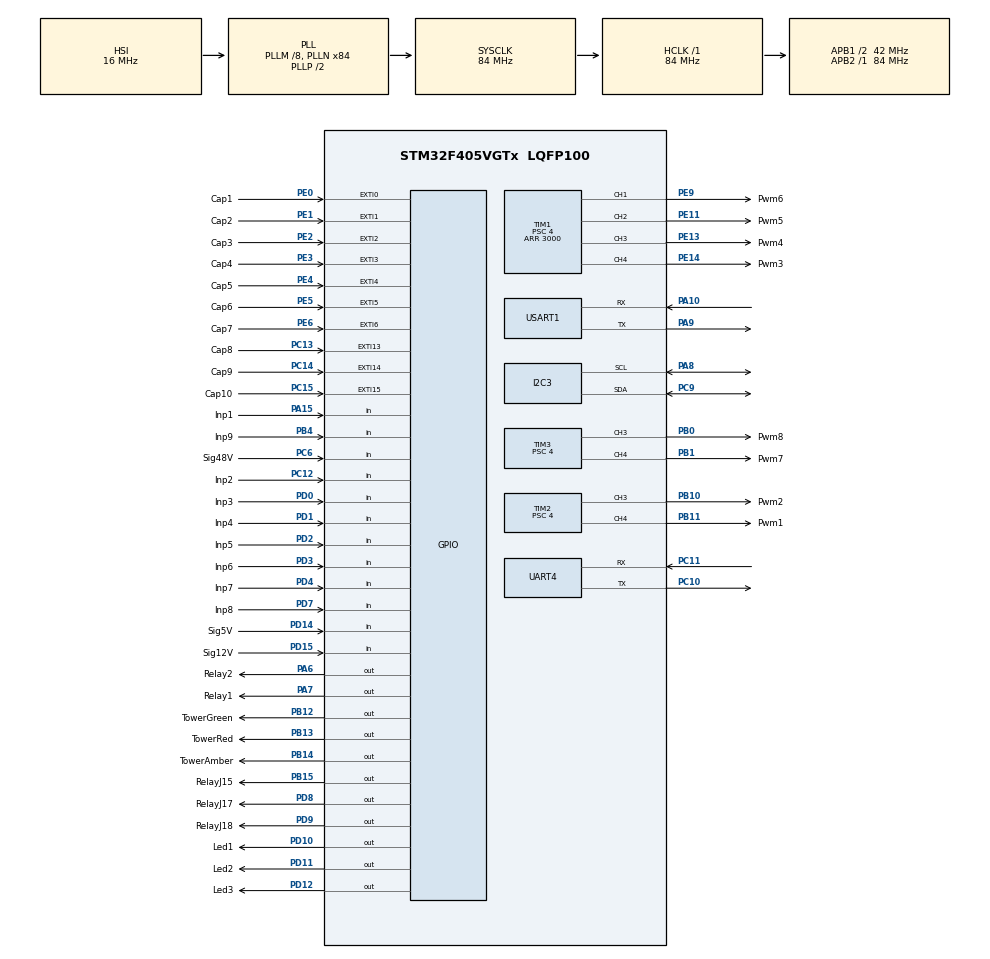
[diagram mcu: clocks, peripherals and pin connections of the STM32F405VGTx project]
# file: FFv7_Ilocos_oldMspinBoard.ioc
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Mcu.Family=STM32F4
Mcu.Name=STM32F405VGTx
Mcu.Package=LQFP100
NVIC.EXTI0_IRQn=true\:0\:0\:false\:false\:true\:true\:true\:true
NVIC.EXTI15_10_IRQn=true\:0\:0\:false\:false\:true\:true\:true\:true
NVIC.EXTI1_IRQn=true\:0\:0\:false\:false\:true\:true\:true\:true
NVIC.EXTI2_IRQn=true\:0\:0\:false\:false\:true\:true\:true\:true
NVIC.EXTI3_IRQn=true\:0\:0\:false\:false\:true\:true\:true\:true
NVIC.EXTI4_IRQn=true\:0\:0\:false\:false\:true\:true\:true\:true
NVIC.EXTI9_5_IRQn=true\:0\:0\:false\:false\:true\:true\:true\:true
NVIC.PriorityGroup=NVIC_PRIORITYGROUP_4
NVIC.TIM1_BRK_TIM9_IRQn=true\:0\:0\:false\:false\:true\:true\:true\:true
NVIC.TIM1_TRG_COM_TIM11_IRQn=true\:0\:0\:true\:false\:true\:true\:true\:true
NVIC.TIM6_DAC_IRQn=true\:0\:0\:false\:false\:true\:true\:true\:true
NVIC.TIM7_IRQn=true\:0\:0\:false\:false\:true\:true\:true\:true
NVIC.UART4_IRQn=true\:0\:0\:false\:false\:true\:true\:true\:true
NVIC.USART1_IRQn=true\:0\:0\:false\:false\:true\:true\:true\:true
PA10.Mode=Asynchronous
PA10.Signal=USART1_RX
PA15.GPIO_Label=Inp1
PA15.Signal=GPIO_Input
PA6.GPIO_Label=Relay2
PA6.Signal=GPIO_Output
PA7.GPIO_Label=Relay1
PA7.Signal=GPIO_Output
PA8.GPIO_Pu=GPIO_PULLUP
PA8.Mode=I2C
PA8.Signal=I2C3_SCL
PA9.Mode=Asynchronous
PA9.Signal=USART1_TX
PB0.GPIO_Label=Pwm8
PB0.Signal=S_TIM3_CH3
PB1.GPIO_Label=Pwm7
PB1.Signal=S_TIM3_CH4
PB10.GPIO_Label=Pwm2
PB10.Signal=S_TIM2_CH3
PB11.GPIO_Label=Pwm1
PB11.Signal=S_TIM2_CH4
PB12.GPIO_Label=TowerGreen
PB12.Signal=GPIO_Output
PB13.GPIO_Label=TowerRed
PB13.Signal=GPIO_Output
PB14.GPIO_Label=TowerAmber
PB14.Signal=GPIO_Output
PB15.GPIO_Label=RelayJ15
PB15.Signal=GPIO_Output
PB4.GPIO_Label=Inp9
PB4.Signal=GPIO_Input
PC10.Mode=Asynchronous
PC10.Signal=UART4_TX
PC11.Mode=Asynchronous
PC11.Signal=UART4_RX
PC12.GPIO_Label=Inp2
PC12.Signal=GPIO_Input
PC13-ANTI_TAMP.GPIO_Label=Cap8
PC13-ANTI_TAMP.GPIO_ModeDefaultEXTI=GPIO_MODE_IT_RISING_FALLING
PC13-ANTI_TAMP.GPIO_PuPd=GPIO_PULLUP
PC13-ANTI_TAMP.Signal=GPXTI13
PC14-OSC32_IN.GPIO_Label=Cap9
PC14-OSC32_IN.GPIO_ModeDefaultEXTI=GPIO_MODE_IT_RISING_FALLING
PC14-OSC32_IN.GPIO_PuPd=GPIO_PULLUP
PC14-OSC32_IN.Signal=GPXTI14
PC15-OSC32_OUT.GPIO_Label=Cap10
PC15-OSC32_OUT.GPIO_ModeDefaultEXTI=GPIO_MODE_IT_RISING_FALLING
PC15-OSC32_OUT.GPIO_PuPd=GPIO_PULLUP
PC15-OSC32_OUT.Signal=GPXTI15
PC6.GPIO_Label=Sig48V
PC6.Signal=GPIO_Input
PC9.GPIO_Pu=GPIO_PULLUP
PC9.Mode=I2C
PC9.Signal=I2C3_SDA
PD0.GPIO_Label=Inp3
PD0.Signal=GPIO_Input
PD1.GPIO_Label=Inp4
PD1.Signal=GPIO_Input
PD10.GPIO_Label=Led1
PD10.Signal=GPIO_Output
PD11.GPIO_Label=Led2
PD11.Signal=GPIO_Output
PD12.GPIO_Label=Led3
PD12.Signal=GPIO_Output
PD14.GPIO_Label=Sig5V
PD14.Signal=GPIO_Input
PD15.GPIO_Label=Sig12V
PD15.Signal=GPIO_Input
PD2.GPIO_Label=Inp5
PD2.Signal=GPIO_Input
PD3.GPIO_Label=Inp6
PD3.Signal=GPIO_Input
PD4.GPIO_Label=Inp7
PD4.Signal=GPIO_Input
PD7.GPIO_Label=Inp8
PD7.Signal=GPIO_Input
PD8.GPIO_Label=RelayJ17
PD8.Signal=GPIO_Output
PD9.GPIO_Label=RelayJ18
PD9.Signal=GPIO_Output
PE0.GPIO_Label=Cap1
PE0.GPIO_ModeDefaultEXTI=GPIO_MODE_IT_RISING_FALLING
PE0.GPIO_PuPd=GPIO_PULLUP
PE0.Signal=GPXTI0
PE1.GPIO_Label=Cap2
PE1.GPIO_ModeDefaultEXTI=GPIO_MODE_IT_RISING_FALLING
PE1.GPIO_PuPd=GPIO_PULLUP
PE1.Signal=GPXTI1
PE11.GPIO_Label=Pwm5
PE11.Signal=S_TIM1_CH2
PE13.GPIO_Label=Pwm4
PE13.Signal=S_TIM1_CH3
PE14.GPIO_Label=Pwm3
PE14.Signal=S_TIM1_CH4
PE2.GPIO_Label=Cap3
PE2.GPIO_ModeDefaultEXTI=GPIO_MODE_IT_RISING_FALLING
PE2.GPIO_PuPd=GPIO_PULLUP
PE2.Signal=GPXTI2
PE3.GPIO_Label=Cap4
PE3.GPIO_ModeDefaultEXTI=GPIO_MODE_IT_RISING_FALLING
PE3.GPIO_PuPd=GPIO_PULLUP
PE3.Signal=GPXTI3
PE4.GPIO_Label=Cap5
PE4.GPIO_ModeDefaultEXTI=GPIO_MODE_IT_RISING_FALLING
PE4.GPIO_PuPd=GPIO_PULLUP
PE4.Signal=GPXTI4
PE5.GPIO_Label=Cap6
PE5.GPIO_ModeDefaultEXTI=GPIO_MODE_IT_RISING_FALLING
PE5.GPIO_PuPd=GPIO_PULLUP
PE5.Signal=GPXTI5
PE6.GPIO_Label=Cap7
PE6.GPIO_ModeDefaultEXTI=GPIO_MODE_IT_RISING_FALLING
PE6.GPIO_PuPd=GPIO_PULLUP
PE6.Signal=GPXTI6
PE9.GPIO_Label=Pwm6
PE9.Signal=S_TIM1_CH1
ProjectManager.HeapSize=0x200
ProjectManager.StackSize=0x400
ProjectManager.TargetToolchain=STM32CubeIDE
RCC.48MHZClocksFreq_Value=42000000
RCC.AHBFreq_Value=84000000
RCC.APB1CLKDivider=RCC_HCLK_DIV2
RCC.APB1Freq_Value=42000000
RCC.APB1TimFreq_Value=84000000
RCC.APB2Freq_Value=84000000
RCC.APB2TimFreq_Value=84000000
RCC.CortexFreq_Value=84000000
RCC.HCLKFreq_Value=84000000
RCC.HSE_VALUE=25000000
RCC.HSI_VALUE=16000000
RCC.LSE_VALUE=32768
RCC.PLLM=8
RCC.PLLN=84
RCC.SYSCLKFreq_VALUE=84000000
RCC.SYSCLKSource=RCC_SYSCLKSOURCE_PLLCLK
RCC.VCOOutputFreq_Value=168000000
SH.S_TIM1_CH1.0=TIM1_CH1,PWM Generation1 CH1
SH.S_TIM1_CH2.0=TIM1_CH2,PWM Generation2 CH2
SH.S_TIM1_CH3.0=TIM1_CH3,PWM Generation3 CH3
SH.S_TIM1_CH4.0=TIM1_CH4,PWM Generation4 CH4
SH.S_TIM2_CH3.0=TIM2_CH3,PWM Generation3 CH3
SH.S_TIM2_CH4.0=TIM2_CH4,PWM Generation4 CH4
SH.S_TIM3_CH3.0=TIM3_CH3,PWM Generation3 CH3
SH.S_TIM3_CH4.0=TIM3_CH4,PWM Generation4 CH4
TIM1.Channel-PWM\ Generation1\ CH1=TIM_CHANNEL_1
TIM1.Channel-PWM\ Generation2\ CH2=TIM_CHANNEL_2
TIM1.Channel-PWM\ Generation3\ CH3=TIM_CHANNEL_3
TIM1.Channel-PWM\ Generation4\ CH4=TIM_CHANNEL_4
TIM1.OCPolarity_1=TIM_OCPOLARITY_HIGH
TIM1.OCPolarity_2=TIM_OCPOLARITY_HIGH
TIM1.OCPolarity_3=TIM_OCPOLARITY_HIGH
TIM1.Period=3000
TIM1.Prescaler=4
TIM11.Period=84
TIM11.Prescaler=9999
TIM2.Channel-PWM\ Generation3\ CH3=TIM_CHANNEL_3
TIM2.Channel-PWM\ Generation4\ CH4=TIM_CHANNEL_4
TIM2.OCPolarity_3=TIM_OCPOLARITY_HIGH
TIM2.OCPolarity_4=TIM_OCPOLARITY_HIGH
TIM2.Period=3000
TIM2.Prescaler=4
TIM3.Channel-PWM\ Generation3\ CH3=TIM_CHANNEL_3
TIM3.Channel-PWM\ Generation4\ CH4=TIM_CHANNEL_4
TIM3.OCPolarity_3=TIM_OCPOLARITY_HIGH
TIM3.OCPolarity_4=TIM_OCPOLARITY_HIGH
TIM3.Period=3000
TIM3.Prescaler=4
TIM6.Period=840
TIM6.Prescaler=9999
TIM7.Period=8400
TIM7.Prescaler=9999
TIM9.Period=499
TIM9.Prescaler=8399
UART4.VirtualMode=Asynchronous
USART1.VirtualMode=VM_ASYNC
VP_TIM11_VS_ClockSourceINT.Mode=Enable_Timer
VP_TIM6_VS_ClockSourceINT.Mode=Enable_Timer
VP_TIM7_VS_ClockSourceINT.Mode=Enable_Timer
VP_TIM9_VS_ClockSourceINT.Mode=Internal
board=FLYERFRAME

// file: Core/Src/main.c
/* USER CODE BEGIN Header */
/**
  ******************************************************************************
  * @file           : main.c
  * @brief          : Main program body
  ******************************************************************************
  * @attention
  *
  * Copyright (c) 2022 STMicroelectronics.
  * All rights reserved.
  *
  * This software is licensed under terms that can be found in the LICENSE file
  * in the root directory of this software component.
  * If no LICENSE file comes with this software, it is provided AS-IS.
  *
  ******************************************************************************
  */
/* USER CODE END Header */
#include "main.h"

/* USER CODE BEGIN Includes */
#include "Structs.h"
#include "initialize.h"
#include "CommonConstants.h"
#include "HMI_Fns.h"
#include "HMI_Constants.h"
#include "StateFns.h"
#include "logicDefines.h"
#include "encoder.h"
#include "initialize.h"
#include "functionDefines.h"
#include "eeprom.h"
#include "Logger.h"
#include "math.h"

#include "encoder.h"
#include "Control.h"

/* USER CODE END Includes */

I2C_HandleTypeDef hi2c3;

TIM_HandleTypeDef htim1;
TIM_HandleTypeDef htim2;
TIM_HandleTypeDef htim3;
TIM_HandleTypeDef htim6;
TIM_HandleTypeDef htim7;
TIM_HandleTypeDef htim9;
TIM_HandleTypeDef htim11;

UART_HandleTypeDef huart4;
UART_HandleTypeDef huart1;

/* USER CODE BEGIN PV */
/* Private variables ---------------------------------------------------------*/
struct State S;
struct Uart U;
struct FlyerSettings fsp;
struct Diagnostics D;
// HMI STRUCTS
struct HMI_InfoBase hsb;
struct HMI_RunPacket hrp;
struct HMI_StopPacket hsp;
struct HMI_DiagPacket hdp;
//LOGIC
struct Motor M[7];
struct Error E;
struct PIDUpdate P;
struct FF_AdvSettings FFs;
//NEW STRUCTS added in Ilocos
encoders encs;

//Buffers
char BufferRec [MAX_PACKET_SIZE_FROM_HMI];//BUFFER  FOR RECEIVE
const char* startBufferRec = BufferRec; // Pointer to start of Buffer Rec
char BufferTransmit[130] ;// Buffer for Transmit

//Order of names in Array have to be same as order of motors(motor1,motor2..etc) //TO CHECK ORDER WITH SIVA
char MOTORARRAY[6] = {0,FF_FLYER,FF_BOBBIN,FF_FRONTROLLER,FF_BACKROLLER,FF_LIFTLEFT};
char MOTORARRAY_HMI[6] = {0,HMI_FF_FLYER,HMI_FF_BOBBIN,HMI_FF_FRONTROLLER,HMI_FF_BACKROLLER,HMI_FF_LIFTLEFT};
char DIAGNOSIS_HMI[8] = {0,HMI_FF_FLYER,HMI_FF_BOBBIN,HMI_FF_FRONTROLLER,HMI_FF_BACKROLLER,HMI_LIFT,HMI_DRAFTING,HMI_WINDING};

//FOR STORING THESE ADDRESSES IN THE EEPROM
const int EEPROM_KP_ADDRESSES[6] = {EXTRA,FLYER_KP,BOBBIN_KP,FR_ROLLER_KP,BK_ROLLER_KP,LIFT_LEFT_KP};
const int EEPROM_KI_ADDRESSES[6] = {EXTRA,FLYER_KI,BOBBIN_KI,FR_ROLLER_KI,BK_ROLLER_KI,LIFT_LEFT_KI};
const int EEPROM_START_OFFSET_ADDRESSES[6] = {EXTRA,FLYER_START_OFFSET,BOBBIN_START_OFFSET,FR_ROLLER_START_OFFSET,
BK_ROLLER_START_OFFSET,LIFT_LEFT_START_OFFSET};
const int EEPROM_FEEDFORWARD_ADDRESSES[6] = {EXTRA,FLYER_FF_CONST,BOBBIN_FF_CONST,FR_FF_CONST,
BR_FF_CONST,LIFT_FF_CONST};

//Logic Variables
int keyPress = 0;
int allMotorsOn = 2;
int restartMachine = 0;
int startFlag = 0;
int leftpulseCount = 0;
int rightpulseCount = 0;
int bobbinBed_dir = 1;

//machine States
int homeFlag = 0; // flag to indicate to interrupt to switch on only 2 motors.

extern int logCounter;
//main running variables
int currentLayer = 0;
int rampRpm = 5;
//flag for switching on REceive buffer properly
char firstTimeRXOn = 0;

//diag variables - these are defined in the diagnostic state File
extern unsigned int idxMotor_diag;
extern long diag_pwm;
extern int testMode;

//currentLength
float lengthin100ms = 0.01;
float currentLength = 0;

//homing variables
extern int rightMotorOn;
extern int leftMotorOn;

//Variables for through beam sensor
int sensor = 0;
int sensorCount = 0;
int sliverCut;

//Variables for correction of RTF during RAMPUP
float noLoops = 0;
float deltaRTFNeeded  = 0;
int startTimer1 = 0;

//settings check
int settingsEepromCheck = 0;
int PIDsettingsEepromCheck  = 0;
int FF_settingsCheck = 0;

//variables to manage both drives
extern int Cap1 ;
float rpmF = 0;
/* USER CODE END PV */

void SystemClock_Config(void);
static void MX_GPIO_Init(void);
static void MX_TIM1_Init(void);
static void MX_TIM2_Init(void);
static void MX_TIM3_Init(void);
static void MX_TIM6_Init(void);
static void MX_TIM7_Init(void);
static void MX_USART1_UART_Init(void);
static void MX_I2C3_Init(void);
static void MX_UART4_Init(void);
static void MX_TIM11_Init(void);
static void MX_TIM9_Init(void);

/* USER CODE BEGIN 0 */

uint8_t sliver= 0;
float FR_RPM= 0;

void HAL_TIM_PeriodElapsedCallback(TIM_HandleTypeDef *htim)  {
	// A 1 sec TIMER
	if (htim->Instance==TIM7){
		LedToggle(LED2);
		U.TXtransfer = 1;
		S.oneSecTimer += 1;
	}

	if (htim->Instance==TIM11){ //Read through beam sensor
		if (S.current_state ==  RUN_STATE){
			sensor = HAL_GPIO_ReadPin(GPIOB,Inp9_Pin);
			if (sensor == 0){
				sensorCount++;
				if (sensorCount > 6){
					sliverCut = 1;
					}
			}
			else{
				sensorCount  = 0;
			}
		}
	}

	//100 ms timer
	if (htim->Instance==TIM6){
		UpdateRPM_Nuvoton_48PPR(&encs);
		UpdateRPM_Tachometric(&encs);

		// will log in Diag and Run
		if (S.loggingEnabled){
			//log Motor running only in Run and Diag.but settings can be logged in idle(1 time)
			if (S.logType == 2){
				logCounter ++;
				LogMotorVariables4();
			}
			if (S.logType == 1){
				LogPIDVals();
				logCounter = 0;
				S.logType = 2;}
			if (S.logType == 0){
				LogSettings();
				S.logType = 1;}
			}

		if (testMode == 1){
			if (D.isSubAssembly){
				if (D.subAssembly == HMI_WINDING){
					updateTargets(MOTOR1,1); //rampUp and continuous
					calculateRpm2();
					followTargets(MOTOR1);
					followTargets(MOTOR2);
					ApplyPwms();
				}
				if (D.subAssembly == HMI_DRAFTING){ // old drives.
					RaiseFlyerVirtualTarget(D.targetRPM);
					calculateRpm2();
					followTargets(MOTOR3);
					followTargets(MOTOR4);
					ApplyPwms();
				}

				//TO DO LIFT ASSEMBLY
				if (D.subAssembly == HMI_LIFT){ // nuvoton drives
					MotorDrive(ENABLE_D);
					// if lift subAssembly
					if (D.liftDirection == HMI_LIFT_UP){
						MotorDrive(FORWARD_D);				// go up
					}
					if (D.liftDirection == HMI_LIFT_DOWN){	// go down
						MotorDrive(REVERSE_D);
					}
					if (D.leftLiftOn){
						UpdateMotorVoltage(MOTOR5,1000); //open loop lift motor travel in diagnostics.
						if (leftpulseCount >= D.targetLiftPulseCount){	// only for Lift check if lift is over here itself
							D.liftOver = 1;
						}
					}
					ApplyPwms();
				} //closes Lift
			}
			else{
				if (D.typeofTest == HMI_DIAG_CLOSED_LOOP){
					updateTargets(idxMotor_diag,1);
					if (idxMotor_diag <=2){ // FF and Bobbin. TODO later LIFT
						MotorDrive(ENABLE_D); // only for FF and bobbin
					}
					followTargets(idxMotor_diag);
					ApplyPwms();
				}
				if (D.typeofTest == HMI_DIAG_OPEN_LOOP){
					if (idxMotor_diag <=2){ // FF and Bobbin
						MotorDrive(ENABLE_D); // only for FF and bobbin
					}
					UpdateMotorVoltage(idxMotor_diag,diag_pwm);
					ApplyPwms();
				}
			} // closes else

		}//closes TestMode

		if (homeFlag == 1){
			LedToggle(LED1);
			MotorDrive(ENABLE_D);
			UpdateMotorVoltage(MOTOR5,1200); // medium homing down
			ApplyPwms();
		}

		if(allMotorsOn == 1){
			LedToggle(LED3);
			if(startFlag == 1){
				M[MOTOR1].rampRpm = FFs.rampUpRate;
				updateTargets(MOTOR1,1);
				calculateRpm2();
				followTargets(MOTOR1);
				followTargets(MOTOR2);
				followTargets(MOTOR3);
				followTargets(MOTOR4);
				followTargets(MOTOR5);
			} //closes startFlag = 1

			if(startFlag == 0)
			{
				if (M[MOTOR1].startOffset>=20) {M[MOTOR1].startOffset = M[MOTOR1].startOffset-2;} //flyer
				if (M[MOTOR2].startOffset>=20) {M[MOTOR2].startOffset = M[MOTOR2].startOffset-2;} //bobbin
				if (M[MOTOR3].startOffset>=20) {M[MOTOR3].startOffset = M[MOTOR3].startOffset-2;} //front roller
				if (M[MOTOR4].startOffset>=20) {M[MOTOR4].startOffset = M[MOTOR4].startOffset-2;} //back roller
				if (M[MOTOR5].startOffset>=20) {M[MOTOR5].startOffset = M[MOTOR5].startOffset-2;} //left lift

				S.RTFmultiplier = FFs.rampDownRtfMultiplier; //constant rtf while ramping down
				FFs.logRTFMultiplier = (int)(S.RTFmultiplier * 100);

				M[MOTOR1].rampRpm = FFs.rampDownRate;
				updateTargets(MOTOR1,0);
				calculateRpm2();
				followTargets(MOTOR1);
				followTargets(MOTOR2);
				followTargets(MOTOR3);
				followTargets(MOTOR4);
				followTargets(MOTOR5);

				if(M[MOTOR1].intTarget <= 50){
					ResetMotorVariables(); // reset all motor struct variables (err,pwm) // not Kp ki and start offset
					ResetEncoderVariables(&encs);
					M[MOTOR1].setRpm = 0;
					M[MOTOR1].pwm = 0;
					M[MOTOR2].setRpm = 0;
					M[MOTOR2].pwm = 0;
					M[MOTOR3].setRpm = 0;
					M[MOTOR3].pwm = 0;
					M[MOTOR4].setRpm = 0;
					M[MOTOR4].pwm = 0;
					M[MOTOR5].setRpm = 0;
					M[MOTOR5].pwm = 0;
					allMotorsOn = 0;
					S.keyState = ENABLE;
					startTimer1 = 0;
				}

			}  // closes startFlag = 0

			ApplyPwms();
			//calculate Total Production
			FR_RPM = (M[3].presentRpm/ILOCOS_FR_GEAR_RATIO);
			lengthin100ms = (FR_CIRCUMFERENCE_M * FR_RPM * 0.10f)/60.0f;	 //production in 100ms
			currentLength  = currentLength + lengthin100ms;
		} // closes all motorson == 1

	}// closes tim6 int
}

/* USER CODE END 0 */

int main(void)
{

  /* MCU Configuration--------------------------------------------------------*/

  /* Reset of all peripherals, Initializes the Flash interface and the Systick. */
  HAL_Init();

  /* Configure the system clock */
  SystemClock_Config();

  /* Initialize all configured peripherals */
  MX_GPIO_Init();
  MX_TIM1_Init();
  MX_TIM2_Init();
  MX_TIM3_Init();
  MX_TIM6_Init();
  MX_TIM7_Init();
  MX_USART1_UART_Init();
  MX_I2C3_Init();
  MX_UART4_Init();
  MX_TIM11_Init();
  MX_TIM9_Init();
  /* USER CODE BEGIN 2 */

  InitializeStateStruct(); // sets state to idle and paired =0
  InitializeFlyerSettings();
  ReadFlyerSettingsFromEeprom(); //UpdateFlyerFrameSettings from EEPROM
  settingsEepromCheck = CheckSettingsReadings();
  if (settingsEepromCheck == 0){
	  LoadFactoryDefaultSettings();
  }

  //Initialize the HMI Structs
  Create_HMI_BasePacket();
  Create_HMI_Run_Packet();
  Create_HMI_StopPacket();
  Create_HMI_DiagPacket();

  InitializeFFAdvSettings();

  //Init the Motor Struct
  MotorStructInit();

  ReadAllPIDSettingsFromEeprom();
  PIDsettingsEepromCheck = CheckPIDSettings();
  if (PIDsettingsEepromCheck == 0){
	  WriteDefaultPIDSettingsIntoEepromAndStruct();
  }
  ResetStartOffsetVars(); // move startOffsetOrig into StartOffset

  //*********************************//

  ReadFF_AdvSettingsFromEeprom();
  FF_settingsCheck = CheckFF_AdvSettings();
  if (FF_settingsCheck == 0 ) {
	WriteDefaultFFAdvSettingsIntoEepromAndStruct();
  }
  M[MOTOR1].rampRpm = FFs.rampUpRate; //Now that the correct ramp Up val is there reset it in MotorStruct
  CalculateRTF_MultiplierValues();

  //Interrupts on HMI UART- UART1
  __HAL_UART_ENABLE_IT(&huart1,UART_IT_IDLE);//interrupt on receive buffer not empty(buffer full)
  __HAL_UART_ENABLE_IT(&huart1,UART_IT_TC );//interrupt on Transmission Complete
  HAL_UART_Receive_IT(&huart1,(uint8_t *)BufferRec,MAX_PACKET_SIZE_FROM_HMI);	 // start the receive here.

  HAL_TIM_Base_Start_IT(&htim6); // MAIN TIMER FOR MOTOR CONTROL PWM - 250ms
  //HAL_TIM_Base_Start_IT(&htim11); // the Sliver cut timer. Dont switch on here.

  // Switch on all the timers for the PWM , and set them low immediately
  AllTimerOn();
  AllSignalVoltageLow();

  //Switch off all tower lamps
  TowerLamp(GREEN_OFF);
  TowerLamp(RED_OFF);
  TowerLamp(AMBER_ON);
  HAL_TIM_Base_Start_IT(&htim7);
  HAL_TIM_Base_Start_IT(&htim9);

  MotorDrive(DISABLE_D); // to be used for FF and BB only.

  /* USER CODE END 2 */

  /* Infinite loop */
  /* USER CODE BEGIN WHILE */
  while (1)
  {
  	if (S.current_state == IDLE_STATE){
  		IdleState();
		}

	if (S.current_state == HOMING_STATE){
		HomingState();
	}

	if (S.current_state == RUN_STATE){
		RunState();
	}

	if (S.current_state == HALT_STATE){
		HaltState();
	}

	if (S.current_state == PAUSE_STATE){
		PauseState();
	}

	if (S.current_state == UPDATESETTINGS){
		SettingsState();
	}

	if (S.current_state == DIAGNOSTIC_STATE){
		DiagnosticsState();
	}

	if (S.current_state == END_STATE){
		EndState();
	}

    /* USER CODE END WHILE */

  }
}

void SystemClock_Config(void)
{
  RCC_OscInitTypeDef RCC_OscInitStruct = {0};
  RCC_ClkInitTypeDef RCC_ClkInitStruct = {0};

  /** Configure the main internal regulator output voltage
  */
  __HAL_RCC_PWR_CLK_ENABLE();
  __HAL_PWR_VOLTAGESCALING_CONFIG(PWR_REGULATOR_VOLTAGE_SCALE1);

  /** Initializes the RCC Oscillators according to the specified parameters
  * in the RCC_OscInitTypeDef structure.
  */
  RCC_OscInitStruct.OscillatorType = RCC_OSCILLATORTYPE_HSI;
  RCC_OscInitStruct.HSIState = RCC_HSI_ON;
  RCC_OscInitStruct.HSICalibrationValue = RCC_HSICALIBRATION_DEFAULT;
  RCC_OscInitStruct.PLL.PLLState = RCC_PLL_ON;
  RCC_OscInitStruct.PLL.PLLSource = RCC_PLLSOURCE_HSI;
  RCC_OscInitStruct.PLL.PLLM = 8;
  RCC_OscInitStruct.PLL.PLLN = 84;
  RCC_OscInitStruct.PLL.PLLP = RCC_PLLP_DIV2;
  RCC_OscInitStruct.PLL.PLLQ = 4;
  if (HAL_RCC_OscConfig(&RCC_OscInitStruct) != HAL_OK)
  {
    Error_Handler();
  }

  /** Initializes the CPU, AHB and APB buses clocks
  */
  RCC_ClkInitStruct.ClockType = RCC_CLOCKTYPE_HCLK|RCC_CLOCKTYPE_SYSCLK
                              |RCC_CLOCKTYPE_PCLK1|RCC_CLOCKTYPE_PCLK2;
  RCC_ClkInitStruct.SYSCLKSource = RCC_SYSCLKSOURCE_PLLCLK;
  RCC_ClkInitStruct.AHBCLKDivider = RCC_SYSCLK_DIV1;
  RCC_ClkInitStruct.APB1CLKDivider = RCC_HCLK_DIV2;
  RCC_ClkInitStruct.APB2CLKDivider = RCC_HCLK_DIV1;

  if (HAL_RCC_ClockConfig(&RCC_ClkInitStruct, FLASH_LATENCY_2) != HAL_OK)
  {
    Error_Handler();
  }
}

static void MX_I2C3_Init(void)
{

  hi2c3.Instance = I2C3;
  hi2c3.Init.ClockSpeed = 100000;
  hi2c3.Init.DutyCycle = I2C_DUTYCYCLE_2;
  hi2c3.Init.OwnAddress1 = 0;
  hi2c3.Init.AddressingMode = I2C_ADDRESSINGMODE_7BIT;
  hi2c3.Init.DualAddressMode = I2C_DUALADDRESS_DISABLE;
  hi2c3.Init.OwnAddress2 = 0;
  hi2c3.Init.GeneralCallMode = I2C_GENERALCALL_DISABLE;
  hi2c3.Init.NoStretchMode = I2C_NOSTRETCH_DISABLE;
  if (HAL_I2C_Init(&hi2c3) != HAL_OK)
  {
    Error_Handler();
  }

}

static void MX_TIM1_Init(void)
{

  TIM_MasterConfigTypeDef sMasterConfig = {0};
  TIM_OC_InitTypeDef sConfigOC = {0};
  TIM_BreakDeadTimeConfigTypeDef sBreakDeadTimeConfig = {0};

  htim1.Instance = TIM1;
  htim1.Init.Prescaler = 4;
  htim1.Init.CounterMode = TIM_COUNTERMODE_UP;
  htim1.Init.Period = 3000;
  htim1.Init.ClockDivision = TIM_CLOCKDIVISION_DIV1;
  htim1.Init.RepetitionCounter = 0;
  htim1.Init.AutoReloadPreload = TIM_AUTORELOAD_PRELOAD_DISABLE;
  if (HAL_TIM_PWM_Init(&htim1) != HAL_OK)
  {
    Error_Handler();
  }
  sMasterConfig.MasterOutputTrigger = TIM_TRGO_RESET;
  sMasterConfig.MasterSlaveMode = TIM_MASTERSLAVEMODE_DISABLE;
  if (HAL_TIMEx_MasterConfigSynchronization(&htim1, &sMasterConfig) != HAL_OK)
  {
    Error_Handler();
  }
  sConfigOC.OCMode = TIM_OCMODE_PWM1;
  sConfigOC.Pulse = 0;
  sConfigOC.OCPolarity = TIM_OCPOLARITY_HIGH;
  sConfigOC.OCNPolarity = TIM_OCNPOLARITY_HIGH;
  sConfigOC.OCFastMode = TIM_OCFAST_DISABLE;
  sConfigOC.OCIdleState = TIM_OCIDLESTATE_RESET;
  sConfigOC.OCNIdleState = TIM_OCNIDLESTATE_RESET;
  if (HAL_TIM_PWM_ConfigChannel(&htim1, &sConfigOC, TIM_CHANNEL_1) != HAL_OK)
  {
    Error_Handler();
  }
  if (HAL_TIM_PWM_ConfigChannel(&htim1, &sConfigOC, TIM_CHANNEL_2) != HAL_OK)
  {
    Error_Handler();
  }
  if (HAL_TIM_PWM_ConfigChannel(&htim1, &sConfigOC, TIM_CHANNEL_3) != HAL_OK)
  {
    Error_Handler();
  }
  if (HAL_TIM_PWM_ConfigChannel(&htim1, &sConfigOC, TIM_CHANNEL_4) != HAL_OK)
  {
    Error_Handler();
  }
  sBreakDeadTimeConfig.OffStateRunMode = TIM_OSSR_DISABLE;
  sBreakDeadTimeConfig.OffStateIDLEMode = TIM_OSSI_DISABLE;
  sBreakDeadTimeConfig.LockLevel = TIM_LOCKLEVEL_OFF;
  sBreakDeadTimeConfig.DeadTime = 0;
  sBreakDeadTimeConfig.BreakState = TIM_BREAK_DISABLE;
  sBreakDeadTimeConfig.BreakPolarity = TIM_BREAKPOLARITY_HIGH;
  sBreakDeadTimeConfig.AutomaticOutput = TIM_AUTOMATICOUTPUT_DISABLE;
  if (HAL_TIMEx_ConfigBreakDeadTime(&htim1, &sBreakDeadTimeConfig) != HAL_OK)
  {
    Error_Handler();
  }
  HAL_TIM_MspPostInit(&htim1);

}

static void MX_TIM2_Init(void)
{

  TIM_MasterConfigTypeDef sMasterConfig = {0};
  TIM_OC_InitTypeDef sConfigOC = {0};

  htim2.Instance = TIM2;
  htim2.Init.Prescaler = 4;
  htim2.Init.CounterMode = TIM_COUNTERMODE_UP;
  htim2.Init.Period = 3000;
  htim2.Init.ClockDivision = TIM_CLOCKDIVISION_DIV1;
  htim2.Init.AutoReloadPreload = TIM_AUTORELOAD_PRELOAD_DISABLE;
  if (HAL_TIM_PWM_Init(&htim2) != HAL_OK)
  {
    Error_Handler();
  }
  sMasterConfig.MasterOutputTrigger = TIM_TRGO_RESET;
  sMasterConfig.MasterSlaveMode = TIM_MASTERSLAVEMODE_DISABLE;
  if (HAL_TIMEx_MasterConfigSynchronization(&htim2, &sMasterConfig) != HAL_OK)
  {
    Error_Handler();
  }
  sConfigOC.OCMode = TIM_OCMODE_PWM1;
  sConfigOC.Pulse = 0;
  sConfigOC.OCPolarity = TIM_OCPOLARITY_HIGH;
  sConfigOC.OCFastMode = TIM_OCFAST_DISABLE;
  if (HAL_TIM_PWM_ConfigChannel(&htim2, &sConfigOC, TIM_CHANNEL_3) != HAL_OK)
  {
    Error_Handler();
  }
  if (HAL_TIM_PWM_ConfigChannel(&htim2, &sConfigOC, TIM_CHANNEL_4) != HAL_OK)
  {
    Error_Handler();
  }
  HAL_TIM_MspPostInit(&htim2);

}

static void MX_TIM3_Init(void)
{

  TIM_MasterConfigTypeDef sMasterConfig = {0};
  TIM_OC_InitTypeDef sConfigOC = {0};

  htim3.Instance = TIM3;
  htim3.Init.Prescaler = 4;
  htim3.Init.CounterMode = TIM_COUNTERMODE_UP;
  htim3.Init.Period = 3000;
  htim3.Init.ClockDivision = TIM_CLOCKDIVISION_DIV1;
  htim3.Init.AutoReloadPreload = TIM_AUTORELOAD_PRELOAD_DISABLE;
  if (HAL_TIM_PWM_Init(&htim3) != HAL_OK)
  {
    Error_Handler();
  }
  sMasterConfig.MasterOutputTrigger = TIM_TRGO_RESET;
  sMasterConfig.MasterSlaveMode = TIM_MASTERSLAVEMODE_DISABLE;
  if (HAL_TIMEx_MasterConfigSynchronization(&htim3, &sMasterConfig) != HAL_OK)
  {
    Error_Handler();
  }
  sConfigOC.OCMode = TIM_OCMODE_PWM1;
  sConfigOC.Pulse = 0;
  sConfigOC.OCPolarity = TIM_OCPOLARITY_HIGH;
  sConfigOC.OCFastMode = TIM_OCFAST_DISABLE;
  if (HAL_TIM_PWM_ConfigChannel(&htim3, &sConfigOC, TIM_CHANNEL_3) != HAL_OK)
  {
    Error_Handler();
  }
  if (HAL_TIM_PWM_ConfigChannel(&htim3, &sConfigOC, TIM_CHANNEL_4) != HAL_OK)
  {
    Error_Handler();
  }
  HAL_TIM_MspPostInit(&htim3);

}

static void MX_TIM6_Init(void)
{

  TIM_MasterConfigTypeDef sMasterConfig = {0};

  htim6.Instance = TIM6;
  htim6.Init.Prescaler = 9999;
  htim6.Init.CounterMode = TIM_COUNTERMODE_UP;
  htim6.Init.Period = 839;
  htim6.Init.AutoReloadPreload = TIM_AUTORELOAD_PRELOAD_DISABLE;
  if (HAL_TIM_Base_Init(&htim6) != HAL_OK)
  {
    Error_Handler();
  }
  sMasterConfig.MasterOutputTrigger = TIM_TRGO_RESET;
  sMasterConfig.MasterSlaveMode = TIM_MASTERSLAVEMODE_DISABLE;
  if (HAL_TIMEx_MasterConfigSynchronization(&htim6, &sMasterConfig) != HAL_OK)
  {
    Error_Handler();
  }

}

static void MX_TIM7_Init(void)
{

  TIM_MasterConfigTypeDef sMasterConfig = {0};

  htim7.Instance = TIM7;
  htim7.Init.Prescaler = 9999;
  htim7.Init.CounterMode = TIM_COUNTERMODE_UP;
  htim7.Init.Period = 8400;
  htim7.Init.AutoReloadPreload = TIM_AUTORELOAD_PRELOAD_DISABLE;
  if (HAL_TIM_Base_Init(&htim7) != HAL_OK)
  {
    Error_Handler();
  }
  sMasterConfig.MasterOutputTrigger = TIM_TRGO_RESET;
  sMasterConfig.MasterSlaveMode = TIM_MASTERSLAVEMODE_DISABLE;
  if (HAL_TIMEx_MasterConfigSynchronization(&htim7, &sMasterConfig) != HAL_OK)
  {
    Error_Handler();
  }

}

static void MX_TIM9_Init(void)
{

  TIM_ClockConfigTypeDef sClockSourceConfig = {0};

  htim9.Instance = TIM9;
  htim9.Init.Prescaler = 8399;
  htim9.Init.CounterMode = TIM_COUNTERMODE_UP;
  htim9.Init.Period = 499;
  htim9.Init.ClockDivision = TIM_CLOCKDIVISION_DIV1;
  htim9.Init.AutoReloadPreload = TIM_AUTORELOAD_PRELOAD_DISABLE;
  if (HAL_TIM_Base_Init(&htim9) != HAL_OK)
  {
    Error_Handler();
  }
  sClockSourceConfig.ClockSource = TIM_CLOCKSOURCE_INTERNAL;
  if (HAL_TIM_ConfigClockSource(&htim9, &sClockSourceConfig) != HAL_OK)
  {
    Error_Handler();
  }

}

static void MX_TIM11_Init(void)
{

  htim11.Instance = TIM11;
  htim11.Init.Prescaler = 9999;
  htim11.Init.CounterMode = TIM_COUNTERMODE_UP;
  htim11.Init.Period = 84;
  htim11.Init.ClockDivision = TIM_CLOCKDIVISION_DIV1;
  htim11.Init.AutoReloadPreload = TIM_AUTORELOAD_PRELOAD_DISABLE;
  if (HAL_TIM_Base_Init(&htim11) != HAL_OK)
  {
    Error_Handler();
  }

}

static void MX_UART4_Init(void)
{

  huart4.Instance = UART4;
  huart4.Init.BaudRate = 115200;
  huart4.Init.WordLength = UART_WORDLENGTH_8B;
  huart4.Init.StopBits = UART_STOPBITS_1;
  huart4.Init.Parity = UART_PARITY_NONE;
  huart4.Init.Mode = UART_MODE_TX_RX;
  huart4.Init.HwFlowCtl = UART_HWCONTROL_NONE;
  huart4.Init.OverSampling = UART_OVERSAMPLING_16;
  if (HAL_UART_Init(&huart4) != HAL_OK)
  {
    Error_Handler();
  }

}

static void MX_USART1_UART_Init(void)
{

  huart1.Instance = USART1;
  huart1.Init.BaudRate = 115200;
  huart1.Init.WordLength = UART_WORDLENGTH_8B;
  huart1.Init.StopBits = UART_STOPBITS_1;
  huart1.Init.Parity = UART_PARITY_NONE;
  huart1.Init.Mode = UART_MODE_TX_RX;
  huart1.Init.HwFlowCtl = UART_HWCONTROL_NONE;
  huart1.Init.OverSampling = UART_OVERSAMPLING_16;
  if (HAL_UART_Init(&huart1) != HAL_OK)
  {
    Error_Handler();
  }

}

static void MX_GPIO_Init(void)
{
  GPIO_InitTypeDef GPIO_InitStruct = {0};

  /* GPIO Ports Clock Enable */
  __HAL_RCC_GPIOE_CLK_ENABLE();
  __HAL_RCC_GPIOC_CLK_ENABLE();
  __HAL_RCC_GPIOA_CLK_ENABLE();
  __HAL_RCC_GPIOB_CLK_ENABLE();
  __HAL_RCC_GPIOD_CLK_ENABLE();

  /*Configure GPIO pin Output Level */
  HAL_GPIO_WritePin(GPIOA, Relay2_Pin|Relay1_Pin, GPIO_PIN_RESET);

  /*Configure GPIO pin Output Level */
  HAL_GPIO_WritePin(GPIOB, TowerGreen_Pin|TowerRed_Pin|TowerAmber_Pin|RelayJ15_Pin, GPIO_PIN_RESET);

  /*Configure GPIO pin Output Level */
  HAL_GPIO_WritePin(GPIOD, RelayJ17_Pin|RelayJ18_Pin|Led1_Pin|Led2_Pin
                          |Led3_Pin, GPIO_PIN_RESET);

  /*Configure GPIO pins : Cap3_Pin Cap4_Pin Cap5_Pin Cap6_Pin
                           Cap7_Pin Cap1_Pin Cap2_Pin */
  GPIO_InitStruct.Pin = Cap3_Pin|Cap4_Pin|Cap5_Pin|Cap6_Pin
                          |Cap7_Pin|Cap1_Pin|Cap2_Pin;
  GPIO_InitStruct.Mode = GPIO_MODE_IT_RISING_FALLING;
  GPIO_InitStruct.Pull = GPIO_PULLUP;
  HAL_GPIO_Init(GPIOE, &GPIO_InitStruct);

  /*Configure GPIO pins : Cap8_Pin Cap9_Pin Cap10_Pin */
  GPIO_InitStruct.Pin = Cap8_Pin|Cap9_Pin|Cap10_Pin;
  GPIO_InitStruct.Mode = GPIO_MODE_IT_RISING_FALLING;
  GPIO_InitStruct.Pull = GPIO_PULLUP;
  HAL_GPIO_Init(GPIOC, &GPIO_InitStruct);

  /*Configure GPIO pins : Relay2_Pin Relay1_Pin */
  GPIO_InitStruct.Pin = Relay2_Pin|Relay1_Pin;
  GPIO_InitStruct.Mode = GPIO_MODE_OUTPUT_PP;
  GPIO_InitStruct.Pull = GPIO_NOPULL;
  GPIO_InitStruct.Speed = GPIO_SPEED_FREQ_LOW;
  HAL_GPIO_Init(GPIOA, &GPIO_InitStruct);

  /*Configure GPIO pins : TowerGreen_Pin TowerRed_Pin TowerAmber_Pin RelayJ15_Pin */
  GPIO_InitStruct.Pin = TowerGreen_Pin|TowerRed_Pin|TowerAmber_Pin|RelayJ15_Pin;
  GPIO_InitStruct.Mode = GPIO_MODE_OUTPUT_PP;
  GPIO_InitStruct.Pull = GPIO_NOPULL;
  GPIO_InitStruct.Speed = GPIO_SPEED_FREQ_LOW;
  HAL_GPIO_Init(GPIOB, &GPIO_InitStruct);

  /*Configure GPIO pins : RelayJ17_Pin RelayJ18_Pin Led1_Pin Led2_Pin
                           Led3_Pin */
  GPIO_InitStruct.Pin = RelayJ17_Pin|RelayJ18_Pin|Led1_Pin|Led2_Pin
                          |Led3_Pin;
  GPIO_InitStruct.Mode = GPIO_MODE_OUTPUT_PP;
  GPIO_InitStruct.Pull = GPIO_NOPULL;
  GPIO_InitStruct.Speed = GPIO_SPEED_FREQ_LOW;
  HAL_GPIO_Init(GPIOD, &GPIO_InitStruct);

  /*Configure GPIO pins : Sig5V_Pin Sig12V_Pin Inp3_Pin Inp4_Pin
                           Inp5_Pin Inp6_Pin Inp7_Pin Inp8_Pin */
  GPIO_InitStruct.Pin = Sig5V_Pin|Sig12V_Pin|Inp3_Pin|Inp4_Pin
                          |Inp5_Pin|Inp6_Pin|Inp7_Pin|Inp8_Pin;
  GPIO_InitStruct.Mode = GPIO_MODE_INPUT;
  GPIO_InitStruct.Pull = GPIO_NOPULL;
  HAL_GPIO_Init(GPIOD, &GPIO_InitStruct);

  /*Configure GPIO pins : Sig48V_Pin Inp2_Pin */
  GPIO_InitStruct.Pin = Sig48V_Pin|Inp2_Pin;
  GPIO_InitStruct.Mode = GPIO_MODE_INPUT;
  GPIO_InitStruct.Pull = GPIO_NOPULL;
  HAL_GPIO_Init(GPIOC, &GPIO_InitStruct);

  /*Configure GPIO pin : Inp1_Pin */
  GPIO_InitStruct.Pin = Inp1_Pin;
  GPIO_InitStruct.Mode = GPIO_MODE_INPUT;
  GPIO_InitStruct.Pull = GPIO_NOPULL;
  HAL_GPIO_Init(Inp1_GPIO_Port, &GPIO_InitStruct);

  /*Configure GPIO pin : Inp9_Pin */
  GPIO_InitStruct.Pin = Inp9_Pin;
  GPIO_InitStruct.Mode = GPIO_MODE_INPUT;
  GPIO_InitStruct.Pull = GPIO_NOPULL;
  HAL_GPIO_Init(Inp9_GPIO_Port, &GPIO_InitStruct);

  /* EXTI interrupt init*/
  HAL_NVIC_SetPriority(EXTI0_IRQn, 0, 0);
  HAL_NVIC_EnableIRQ(EXTI0_IRQn);

  HAL_NVIC_SetPriority(EXTI1_IRQn, 0, 0);
  HAL_NVIC_EnableIRQ(EXTI1_IRQn);

  HAL_NVIC_SetPriority(EXTI2_IRQn, 0, 0);
  HAL_NVIC_EnableIRQ(EXTI2_IRQn);

  HAL_NVIC_SetPriority(EXTI3_IRQn, 0, 0);
  HAL_NVIC_EnableIRQ(EXTI3_IRQn);

  HAL_NVIC_SetPriority(EXTI4_IRQn, 0, 0);
  HAL_NVIC_EnableIRQ(EXTI4_IRQn);

  HAL_NVIC_SetPriority(EXTI9_5_IRQn, 0, 0);
  HAL_NVIC_EnableIRQ(EXTI9_5_IRQn);

  HAL_NVIC_SetPriority(EXTI15_10_IRQn, 0, 0);
  HAL_NVIC_EnableIRQ(EXTI15_10_IRQn);

}

void Error_Handler(void)
{
  __disable_irq();
  while (1)
  {
  }
}
